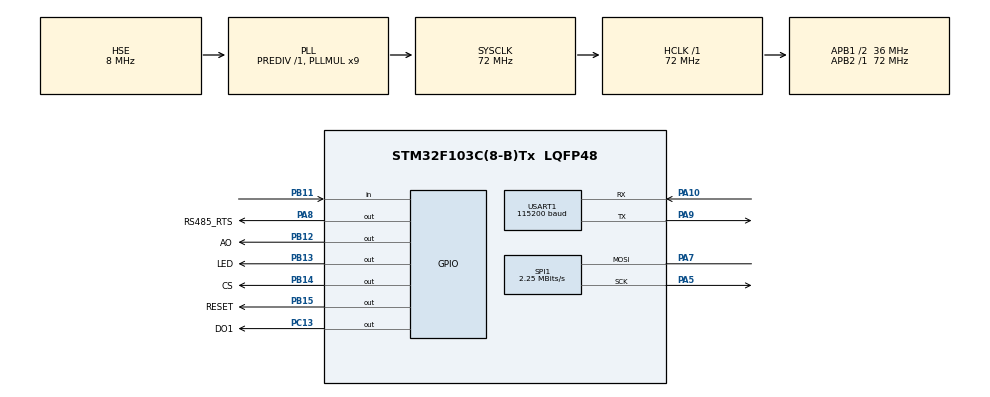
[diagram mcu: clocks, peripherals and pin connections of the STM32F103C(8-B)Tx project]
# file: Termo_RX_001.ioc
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Mcu.Family=STM32F1
Mcu.Name=STM32F103C(8-B)Tx
Mcu.Package=LQFP48
NVIC.PriorityGroup=NVIC_PRIORITYGROUP_4
NVIC.TIM4_IRQn=true\:0\:0\:false\:false\:true\:true\:true
NVIC.USART1_IRQn=true\:0\:0\:false\:false\:true\:true\:true
PA10.Mode=Asynchronous
PA10.Signal=USART1_RX
PA13.Mode=Serial_Wire
PA13.Signal=SYS_JTMS-SWDIO
PA14.Mode=Serial_Wire
PA14.Signal=SYS_JTCK-SWCLK
PA5.Mode=Simplex_Bidirectional_Master
PA5.Signal=SPI1_SCK
PA7.Mode=Simplex_Bidirectional_Master
PA7.Signal=SPI1_MOSI
PA8.GPIO_Label=RS485_RTS
PA8.GPIO_Speed=GPIO_SPEED_FREQ_HIGH
PA8.Signal=GPIO_Output
PA9.Mode=Asynchronous
PA9.Signal=USART1_TX
PB11.Signal=GPIO_Input
PB12.GPIO_Label=AO
PB12.Signal=GPIO_Output
PB13.GPIO_Label=LED
PB13.Signal=GPIO_Output
PB14.GPIO_Label=CS
PB14.Signal=GPIO_Output
PB15.GPIO_Label=RESET
PB15.Signal=GPIO_Output
PC13-TAMPER-RTC.GPIO_Label=DO1
PC13-TAMPER-RTC.Signal=GPIO_Output
PC14-OSC32_IN.Mode=LSE-External-Oscillator
PC14-OSC32_IN.Signal=RCC_OSC32_IN
PC15-OSC32_OUT.Mode=LSE-External-Oscillator
PC15-OSC32_OUT.Signal=RCC_OSC32_OUT
PD0-OSC_IN.Mode=HSE-External-Oscillator
PD0-OSC_IN.Signal=RCC_OSC_IN
PD1-OSC_OUT.Mode=HSE-External-Oscillator
PD1-OSC_OUT.Signal=RCC_OSC_OUT
ProjectManager.HeapSize=0x1200
ProjectManager.StackSize=0x800
ProjectManager.TargetToolchain=STM32CubeIDE
RCC.AHBFreq_Value=72000000
RCC.APB1CLKDivider=RCC_HCLK_DIV2
RCC.APB1Freq_Value=36000000
RCC.APB1TimFreq_Value=72000000
RCC.APB2Freq_Value=72000000
RCC.APB2TimFreq_Value=72000000
RCC.HCLKFreq_Value=72000000
RCC.PLLMUL=RCC_PLL_MUL9
RCC.PLLSourceVirtual=RCC_PLLSOURCE_HSE
RCC.SYSCLKFreq_VALUE=72000000
RCC.SYSCLKSource=RCC_SYSCLKSOURCE_PLLCLK
RCC.USBFreq_Value=72000000
SPI1.BaudRatePrescaler=SPI_BAUDRATEPRESCALER_32
SPI1.CalculateBaudRate=2.25 MBits/s
SPI1.Direction=SPI_DIRECTION_1LINE
SPI1.Mode=SPI_MODE_MASTER
SPI1.VirtualType=VM_MASTER
TIM4.Period=49
TIM4.Prescaler=71
USART1.BaudRate=115200
USART1.VirtualMode=VM_ASYNC
VP_TIM4_VS_ClockSourceINT.Mode=Internal
board=custom

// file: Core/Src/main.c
/* USER CODE BEGIN Header */
/**
  ******************************************************************************
  * @file           : main.c
  * @brief          : Main program body
  ******************************************************************************
  * @attention
  *
  * <h2><center>&copy; Copyright (c) 2020 STMicroelectronics.
  * All rights reserved.</center></h2>
  *
  * This software component is licensed by ST under BSD 3-Clause license,
  * the "License"; You may not use this file except in compliance with the
  * License. You may obtain a copy of the License at:
  *                        opensource.org/licenses/BSD-3-Clause
  *
  ******************************************************************************
  */
/* USER CODE END Header */
#include "main.h"

/* USER CODE BEGIN Includes */
#include "stdbool.h"
#include "stdio.h"
#include "RV_ST7735.h"
#include "mb.h"
#include "mbport.h"
#include "user_mb_app.h"
/* USER CODE END Includes */

/* USER CODE BEGIN PTD */
bool flag1; // флаги для моргалки
unsigned long t1, t2; // для отсчета времени
uint8_t tx_buffer1[] = "Termocontrol system\n\r"; // создаем буфер с текстом
uint8_t tx_buffer2[] = "Termometer varables:\n\r"; // создаем буфер с текстом
uint8_t tx_buffer3[] = "\n\r"; // создаем буфер с текстом
uint8_t tx_buffer4[] = "\n\r"; // создаем буфер с текстом
uint8_t msg1[64];  // буффер для числа
uint8_t msg2[64];  // буффер для числа
uint8_t msg3[64];  // буффер для числа
uint8_t msg4[64];  // буффер для числа
uint8_t msg5[64];  // буффер для числа
uint8_t msg6[64];  // буффер для числа
uint8_t msg7[64];  // буффер для числа
uint8_t msg8[64];  // буффер для числа
uint8_t msg9[64];  // буффер для числа
uint8_t msg10[64];  // буффер для числа
float x2 = 33.12;// число
float termo_1 = 11.1;
float  termo_2 = 22.1;
float  termo_3 = 33.1;
float  termo_4 = 44.1;
float  termo_5 = 55.1;
float  termo_6 = 66.1;
float  termo_7 = 77.1;
float  termo_8 = 88.1;
float  termo_9 = 99.1;
float  termo_10 = 0.1;

/* USER CODE END PTD */

SPI_HandleTypeDef hspi1;

TIM_HandleTypeDef htim4;

UART_HandleTypeDef huart1;

/* USER CODE BEGIN PV */
uint8_t Dev_ID[8][8]={0};
uint8_t Dev_Cnt;
char str1[60];
char TT1[10];
char TT2[10];
char TT3[10];
char TT4[10];
char TT5[10];
char TT6[10];
char TT7[10];
char TT8[10];

int TTv1;
int TTv2;
int TTv3;
int TTv4;
int TTv5;
int TTv6;
int TTv7;
int TTv8;

/* USER CODE END PV */

void SystemClock_Config(void);
static void MX_GPIO_Init(void);
static void MX_USART1_UART_Init(void);
static void MX_SPI1_Init(void);
static void MX_TIM4_Init(void);

/* USER CODE BEGIN 0 */
extern uint16_t usSRegInBuf[];
void Huart(){
	 if(HAL_GetTick() - t2 >=3000) {
		 t2 = HAL_GetTick();
	 }
}

void Blink(){
	 if (flag1 == 1) {
		 if (HAL_GetTick() - t1 >= 2000) {
			 flag1 = 0;
			 t1 = HAL_GetTick();
		 }
	 }
	 if (flag1 == 0) {
	 		 if (HAL_GetTick() - t1 >= 300) {
	 		flag1 = 1;
	 		t1 = HAL_GetTick();
	 		 }
	 	HAL_GPIO_WritePin(GPIOC, DO1_Pin, flag1);
	 	 }

 }
/* USER CODE END 0 */

int main(void)
{
  /* USER CODE BEGIN 1 */
	uint8_t status;
	uint8_t dt[8];
	uint16_t raw_temper;
	float temper;
	char c;
	uint8_t i;
	static uint32_t lock_nesting_count = 0;
	void __critical_enter(void)
	{
	    __disable_irq();
	    ++lock_nesting_count;
	}
	void __critical_exit(void)
	{
	    /* Unlock interrupts only when we are exiting the outermost nested call. */
	    --lock_nesting_count;
	    if (lock_nesting_count == 0) {
	        __enable_irq();
	    }
	}
  /* USER CODE END 1 */

  /* MCU Configuration--------------------------------------------------------*/

  /* Reset of all peripherals, Initializes the Flash interface and the Systick. */
  HAL_Init();

  /* USER CODE BEGIN Init */

	t1 = HAL_GetTick(); // для моргалки
	t2 = HAL_GetTick(); // для юарта
	flag1 = 1;

  /* USER CODE END Init */

  /* Configure the system clock */
  SystemClock_Config();

  /* Initialize all configured peripherals */
  MX_GPIO_Init();
  MX_USART1_UART_Init();
  MX_SPI1_Init();
  MX_TIM4_Init();
  /* USER CODE BEGIN 2 */

	RV_ST7735_INIT();
	RV_ST7735_LED_ON();
	RV_ST7735_FILLRECT(0, 0, 160, 128, CYAN);
	RV_ST7735_STRING( 90, 35, (uint8_t *) "DESIGN", WHITE, BLACK);
	HAL_Delay(600);
	RV_ST7735_STRING( 80, 50, (uint8_t *) "BY", WHITE, BLACK);
	HAL_Delay(600);
	RV_ST7735_STRING( 70, 17, (uint8_t *) "MEXANICBIRD", WHITE, BLACK);
	HAL_Delay(3000);
	RV_ST7735_FILLRECT(0, 0, 160, 128, BLACK);

	port_init();
	status = ds18b20_init(NO_SKIP_ROM);
	sprintf(str1,"Init Status: %d\r\n",status);
	sprintf(str1,"Dev count: %d\r\n", Dev_Cnt);
	for(i=1;i<=Dev_Cnt;i++)
	{
	  sprintf(str1,"Device %d\r\n", i);
	  sprintf(str1,"ROM RAW: %02X %02X %02X %02X %02X %02X %02X %02X\r\n",
	    Dev_ID[i-1][0], Dev_ID[i-1][1], Dev_ID[i-1][2], Dev_ID[i-1][3],
	    Dev_ID[i-1][4], Dev_ID[i-1][5], Dev_ID[i-1][6], Dev_ID[i-1][7]);
	  sprintf(str1,"Family CODE: 0x%02X\r\n", Dev_ID[i-1][0]);
	  sprintf(str1,"ROM CODE: 0x%02X%02X%02X%02X%02X%02X\r\n", Dev_ID[i-1][6], Dev_ID[i-1][5],
	    Dev_ID[i-1][4], Dev_ID[i-1][3], Dev_ID[i-1][2], Dev_ID[i-1][1]);
	  sprintf(str1,"CRC: 0x%02X\r\n", Dev_ID[i-1][7]);
	}

	eMBInit( MB_RTU, 0x0A, &huart1, 115200, &htim4 );
    eMBEnable( );

  /* USER CODE END 2 */

  /* Infinite loop */
  while (1)
  {

    /* USER CODE BEGIN 3 */
   for(i=1;i<=Dev_Cnt;i++)
   {
      ds18b20_MeasureTemperCmd(NO_SKIP_ROM, i);
   }
   HAL_Delay(800);

     ds18b20_ReadStratcpad(NO_SKIP_ROM, dt, 1);
     raw_temper = ((uint16_t)dt[1]<<8)|dt[0];
     if(ds18b20_GetSign(raw_temper)) c='-';
     else c='+';
     temper = ds18b20_Convert(raw_temper);
     temper = temper + 0.4;
     sprintf(TT1,"%c%.1f   ",c, temper);
     TTv1 = temper*100;

     ds18b20_ReadStratcpad(NO_SKIP_ROM, dt, 2);
     raw_temper = ((uint16_t)dt[1]<<8)|dt[0];
     if(ds18b20_GetSign(raw_temper)) c='-';
     else c='+';
     temper = ds18b20_Convert(raw_temper);
     sprintf(TT2,"%c%.1f   ",c, temper);
     temper = temper + 0.0;
     TTv2 = temper*100;

     ds18b20_ReadStratcpad(NO_SKIP_ROM, dt, 3);
     raw_temper = ((uint16_t)dt[1]<<8)|dt[0];
     if(ds18b20_GetSign(raw_temper)) c='-';
     else c='+';
     temper = ds18b20_Convert(raw_temper);
     temper = temper + 0.1;
     sprintf(TT3,"%c%.1f   ",c, temper);
     TTv3 = temper*100;

     ds18b20_ReadStratcpad(NO_SKIP_ROM, dt, 4);
     raw_temper = ((uint16_t)dt[1]<<8)|dt[0];
     if(ds18b20_GetSign(raw_temper)) c='-';
     else c='+';
     temper = ds18b20_Convert(raw_temper);
     temper = temper + 0.0;
     sprintf(TT4,"%c%.1f   ",c, temper);
     TTv4 = temper*100;

     ds18b20_ReadStratcpad(NO_SKIP_ROM, dt, 5);
     raw_temper = ((uint16_t)dt[1]<<8)|dt[0];
     if(ds18b20_GetSign(raw_temper)) c='-';
     else c='+';
     temper = ds18b20_Convert(raw_temper);
     temper = temper + 0.0;
     sprintf(TT5,"%c%.1f   ",c, temper);
     TTv5 = temper*100;

     ds18b20_ReadStratcpad(NO_SKIP_ROM, dt, 6);
     raw_temper = ((uint16_t)dt[1]<<8)|dt[0];
     if(ds18b20_GetSign(raw_temper)) c='-';
     else c='+';
     temper = ds18b20_Convert(raw_temper);
     temper = temper - 0.1;
     sprintf(TT6,"%c%.1f   ",c, temper);
     TTv6 = temper*100;

     ds18b20_ReadStratcpad(NO_SKIP_ROM, dt, 7);
     raw_temper = ((uint16_t)dt[1]<<8)|dt[0];
     if(ds18b20_GetSign(raw_temper)) c='-';
     else c='+';
     temper = ds18b20_Convert(raw_temper);
     temper = temper - 0.6;
     sprintf(TT7,"%c%.1f   ",c, temper);
     TTv7 = temper*100;

     ds18b20_ReadStratcpad(NO_SKIP_ROM, dt, 8);
     raw_temper = ((uint16_t)dt[1]<<8)|dt[0];
     if(ds18b20_GetSign(raw_temper)) c='-';
     else c='+';
     temper = ds18b20_Convert(raw_temper);
     temper = temper + 0.2;
     sprintf(TT8,"%c%.1f   ",c, temper);
     TTv8 = temper*100;

     usSRegInBuf[0] = TTv1;
     usSRegInBuf[1] = TTv2;
     usSRegInBuf[2] = TTv3;
     usSRegInBuf[3] = TTv4;
     usSRegInBuf[4] = TTv5;
     usSRegInBuf[5] = TTv6;
     usSRegInBuf[6] = TTv7;
     usSRegInBuf[7] = TTv8;

     HAL_Delay(150);

	 RV_ST7735_STRING( 140, 15, (uint8_t *) "TEMPERATURE", CYAN, BLACK);
	 RV_ST7735_STRING( 130, 25, (uint8_t *) "MEASURING", CYAN, BLACK);
	 RV_ST7735_STRING( 120, 35, (uint8_t *) "SYSTEM", CYAN, BLACK);

	 RV_ST7735_STRING(90, 5, (uint8_t *) "TERMO-01", WHITE, BLACK);
	 RV_ST7735_STRING(90, 78, (uint8_t *) (char *)TT1, WHITE, BLACK);

	 RV_ST7735_STRING(80, 5, (uint8_t *) "TERMO-02", WHITE, BLACK);
	 RV_ST7735_STRING(80, 78, (uint8_t *) (char *)TT2, WHITE, BLACK);

	 RV_ST7735_STRING(70, 5, (uint8_t *) "TERMO-03", WHITE, BLACK);
	 RV_ST7735_STRING(70, 78, (uint8_t *) (char *)TT3, WHITE, BLACK);

	 RV_ST7735_STRING(60, 5, (uint8_t *) "TERMO-04", WHITE, BLACK);
	 RV_ST7735_STRING(60, 78, (uint8_t *) (char *)TT4, WHITE, BLACK);

	 RV_ST7735_STRING(50, 5, (uint8_t *) "TERMO-05", WHITE, BLACK);
	 RV_ST7735_STRING(50, 78, (uint8_t *) (char *)TT5, WHITE, BLACK);

	 RV_ST7735_STRING(40, 5, (uint8_t *) "TERMO-06", WHITE, BLACK);
	 RV_ST7735_STRING(40, 78, (uint8_t *) (char *)TT6, WHITE, BLACK);

	 RV_ST7735_STRING(30, 5, (uint8_t *) "TERMO-07", WHITE, BLACK);
	 RV_ST7735_STRING(30, 78, (uint8_t *) (char *)TT7, WHITE, BLACK);

	 RV_ST7735_STRING(20, 5, (uint8_t *) "TERMO-08", WHITE, BLACK);
	 RV_ST7735_STRING(20, 78, (uint8_t *) (char *)TT8, WHITE, BLACK);

   Blink(); // вызываем моргалку
   eMBPoll();
  }
  /* USER CODE END 3 */
}

void SystemClock_Config(void)
{
  RCC_OscInitTypeDef RCC_OscInitStruct = {0};
  RCC_ClkInitTypeDef RCC_ClkInitStruct = {0};

  /** Initializes the RCC Oscillators according to the specified parameters
  * in the RCC_OscInitTypeDef structure.
  */
  RCC_OscInitStruct.OscillatorType = RCC_OSCILLATORTYPE_HSE;
  RCC_OscInitStruct.HSEState = RCC_HSE_ON;
  RCC_OscInitStruct.HSEPredivValue = RCC_HSE_PREDIV_DIV1;
  RCC_OscInitStruct.HSIState = RCC_HSI_ON;
  RCC_OscInitStruct.PLL.PLLState = RCC_PLL_ON;
  RCC_OscInitStruct.PLL.PLLSource = RCC_PLLSOURCE_HSE;
  RCC_OscInitStruct.PLL.PLLMUL = RCC_PLL_MUL9;
  if (HAL_RCC_OscConfig(&RCC_OscInitStruct) != HAL_OK)
  {
    Error_Handler();
  }
  /** Initializes the CPU, AHB and APB buses clocks
  */
  RCC_ClkInitStruct.ClockType = RCC_CLOCKTYPE_HCLK|RCC_CLOCKTYPE_SYSCLK
                              |RCC_CLOCKTYPE_PCLK1|RCC_CLOCKTYPE_PCLK2;
  RCC_ClkInitStruct.SYSCLKSource = RCC_SYSCLKSOURCE_PLLCLK;
  RCC_ClkInitStruct.AHBCLKDivider = RCC_SYSCLK_DIV1;
  RCC_ClkInitStruct.APB1CLKDivider = RCC_HCLK_DIV2;
  RCC_ClkInitStruct.APB2CLKDivider = RCC_HCLK_DIV1;

  if (HAL_RCC_ClockConfig(&RCC_ClkInitStruct, FLASH_LATENCY_2) != HAL_OK)
  {
    Error_Handler();
  }
}

static void MX_SPI1_Init(void)
{

  /* SPI1 parameter configuration*/
  hspi1.Instance = SPI1;
  hspi1.Init.Mode = SPI_MODE_MASTER;
  hspi1.Init.Direction = SPI_DIRECTION_1LINE;
  hspi1.Init.DataSize = SPI_DATASIZE_8BIT;
  hspi1.Init.CLKPolarity = SPI_POLARITY_LOW;
  hspi1.Init.CLKPhase = SPI_PHASE_1EDGE;
  hspi1.Init.NSS = SPI_NSS_SOFT;
  hspi1.Init.BaudRatePrescaler = SPI_BAUDRATEPRESCALER_32;
  hspi1.Init.FirstBit = SPI_FIRSTBIT_MSB;
  hspi1.Init.TIMode = SPI_TIMODE_DISABLE;
  hspi1.Init.CRCCalculation = SPI_CRCCALCULATION_DISABLE;
  hspi1.Init.CRCPolynomial = 10;
  if (HAL_SPI_Init(&hspi1) != HAL_OK)
  {
    Error_Handler();
  }

}

static void MX_TIM4_Init(void)
{

  TIM_ClockConfigTypeDef sClockSourceConfig = {0};
  TIM_MasterConfigTypeDef sMasterConfig = {0};

  htim4.Instance = TIM4;
  htim4.Init.Prescaler = 71;
  htim4.Init.CounterMode = TIM_COUNTERMODE_UP;
  htim4.Init.Period = 49;
  htim4.Init.ClockDivision = TIM_CLOCKDIVISION_DIV1;
  htim4.Init.AutoReloadPreload = TIM_AUTORELOAD_PRELOAD_DISABLE;
  if (HAL_TIM_Base_Init(&htim4) != HAL_OK)
  {
    Error_Handler();
  }
  sClockSourceConfig.ClockSource = TIM_CLOCKSOURCE_INTERNAL;
  if (HAL_TIM_ConfigClockSource(&htim4, &sClockSourceConfig) != HAL_OK)
  {
    Error_Handler();
  }
  sMasterConfig.MasterOutputTrigger = TIM_TRGO_RESET;
  sMasterConfig.MasterSlaveMode = TIM_MASTERSLAVEMODE_DISABLE;
  if (HAL_TIMEx_MasterConfigSynchronization(&htim4, &sMasterConfig) != HAL_OK)
  {
    Error_Handler();
  }

}

static void MX_USART1_UART_Init(void)
{

  huart1.Instance = USART1;
  huart1.Init.BaudRate = 115200;
  huart1.Init.WordLength = UART_WORDLENGTH_8B;
  huart1.Init.StopBits = UART_STOPBITS_1;
  huart1.Init.Parity = UART_PARITY_NONE;
  huart1.Init.Mode = UART_MODE_TX_RX;
  huart1.Init.HwFlowCtl = UART_HWCONTROL_NONE;
  huart1.Init.OverSampling = UART_OVERSAMPLING_16;
  if (HAL_UART_Init(&huart1) != HAL_OK)
  {
    Error_Handler();
  }

}

static void MX_GPIO_Init(void)
{
  GPIO_InitTypeDef GPIO_InitStruct = {0};

  /* GPIO Ports Clock Enable */
  __HAL_RCC_GPIOC_CLK_ENABLE();
  __HAL_RCC_GPIOD_CLK_ENABLE();
  __HAL_RCC_GPIOA_CLK_ENABLE();
  __HAL_RCC_GPIOB_CLK_ENABLE();

  /*Configure GPIO pin Output Level */
  HAL_GPIO_WritePin(DO1_GPIO_Port, DO1_Pin, GPIO_PIN_RESET);

  /*Configure GPIO pin Output Level */
  HAL_GPIO_WritePin(GPIOB, AO_Pin|LED_Pin|CS_Pin|RESET_Pin, GPIO_PIN_RESET);

  /*Configure GPIO pin Output Level */
  HAL_GPIO_WritePin(RS485_RTS_GPIO_Port, RS485_RTS_Pin, GPIO_PIN_RESET);

  /*Configure GPIO pin : DO1_Pin */
  GPIO_InitStruct.Pin = DO1_Pin;
  GPIO_InitStruct.Mode = GPIO_MODE_OUTPUT_PP;
  GPIO_InitStruct.Pull = GPIO_NOPULL;
  GPIO_InitStruct.Speed = GPIO_SPEED_FREQ_LOW;
  HAL_GPIO_Init(DO1_GPIO_Port, &GPIO_InitStruct);

  /*Configure GPIO pin : PB11 */
  GPIO_InitStruct.Pin = GPIO_PIN_11;
  GPIO_InitStruct.Mode = GPIO_MODE_INPUT;
  GPIO_InitStruct.Pull = GPIO_NOPULL;
  HAL_GPIO_Init(GPIOB, &GPIO_InitStruct);

  /*Configure GPIO pins : AO_Pin LED_Pin CS_Pin RESET_Pin */
  GPIO_InitStruct.Pin = AO_Pin|LED_Pin|CS_Pin|RESET_Pin;
  GPIO_InitStruct.Mode = GPIO_MODE_OUTPUT_PP;
  GPIO_InitStruct.Pull = GPIO_NOPULL;
  GPIO_InitStruct.Speed = GPIO_SPEED_FREQ_LOW;
  HAL_GPIO_Init(GPIOB, &GPIO_InitStruct);

  /*Configure GPIO pin : RS485_RTS_Pin */
  GPIO_InitStruct.Pin = RS485_RTS_Pin;
  GPIO_InitStruct.Mode = GPIO_MODE_OUTPUT_PP;
  GPIO_InitStruct.Pull = GPIO_NOPULL;
  GPIO_InitStruct.Speed = GPIO_SPEED_FREQ_HIGH;
  HAL_GPIO_Init(RS485_RTS_GPIO_Port, &GPIO_InitStruct);

}

void Error_Handler(void)
{
}

/************************ (C) COPYRIGHT STMicroelectronics *****END OF FILE****/
